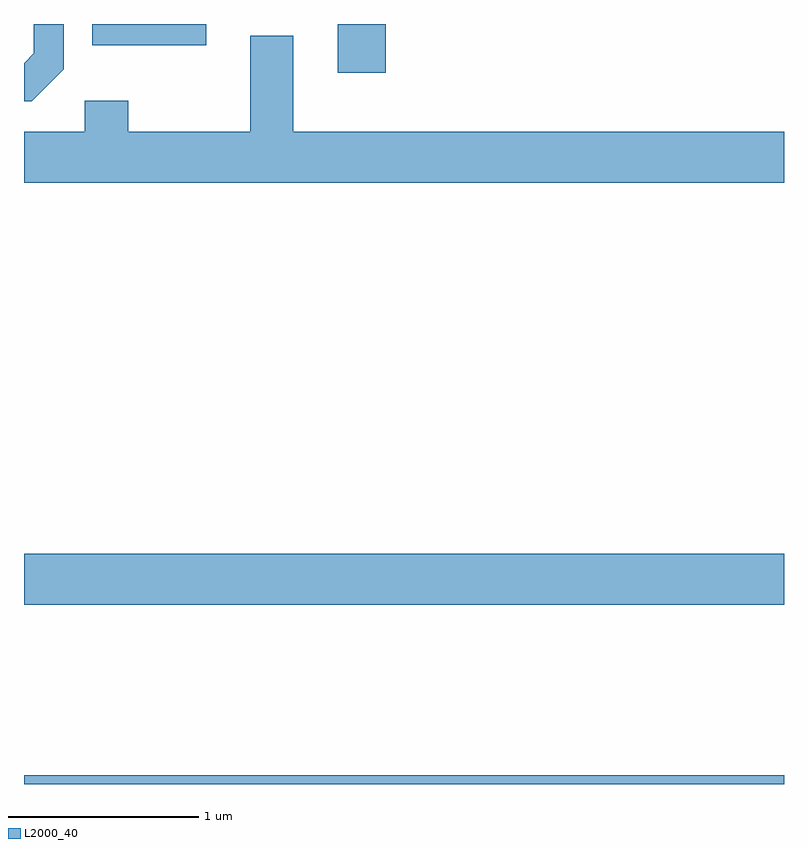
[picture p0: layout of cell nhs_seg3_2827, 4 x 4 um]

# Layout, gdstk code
import gdstk
lib = gdstk.Library(unit=1e-6, precision=1e-09)
def R(c, l, rs):  # rectangles x0, y0, x1, y1
    for r in rs: c.add(gdstk.rectangle(r[:2], r[2:], *l))
def P(c, l, *ps):  # polygons
    for p in ps: c.add(gdstk.Polygon(p, *l))
L2000_40 = (2000, 40)

nhs_seg3_2827 = lib.new_cell('nhs_seg3_2827')
R(nhs_seg3_2827, L2000_40, [(267.611,1193.892,271.611,1193.939), (267.611,1194.836,271.611,1195.104), (269.261,1197.636,269.514,1197.892), (267.971,1197.781,268.569,1197.892)])
P(nhs_seg3_2827, L2000_40, [(267.819,1197.654),(267.819,1197.892),(267.661,1197.892),(267.661,1197.737),(267.611,1197.686),(267.611,1197.486),(267.652,1197.486)],
  [(271.611,1197.324),(269.029,1197.324),(269.029,1197.829),(268.801,1197.829),(268.801,1197.324),(268.159,1197.324),(268.159,1197.489),(267.931,1197.489),(267.931,1197.324),(267.611,1197.324),(267.611,1197.056),(271.611,1197.056)])

lib.write_gds('nhs_seg3_2827.gds')
